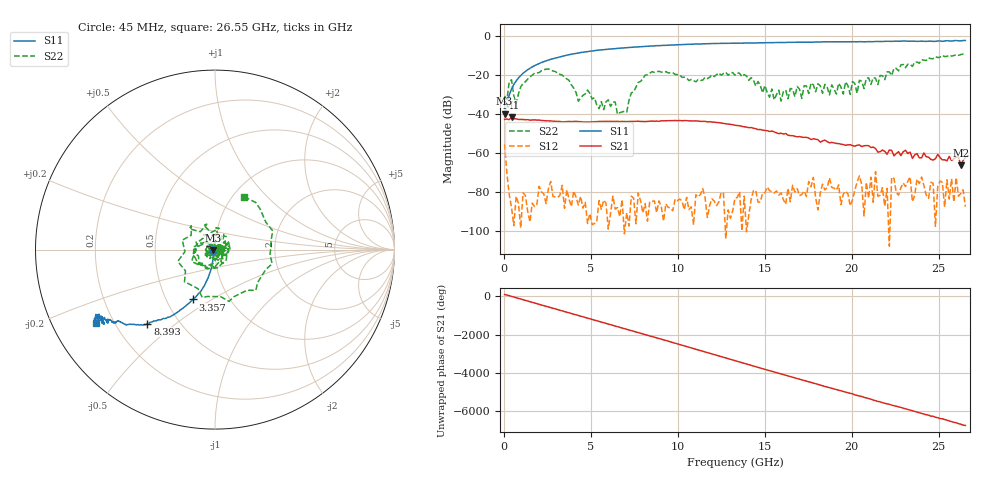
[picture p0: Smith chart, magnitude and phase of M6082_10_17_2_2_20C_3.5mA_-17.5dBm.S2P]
!  2-Port S-parameters saved by WinCal
! VAR MeasName=S-Parameters (CALIBRATED_DATA) read from VNA (C)
! VAR MeasDate=10/16/2015 3:49:27 PM
! VAR NAME=M6082_10_17_2_2_20C_3.5mA_-17.5dBm
! VAR FILENAME=M6082_10_17_2_2_20C_3.5mA_-17.5dBm.S2P
! VAR DATE=10/16/2015 3:49:27 PM
! VAR PHYS_PORTS=2,1
! VAR ObjTypeName=DATASET
! VAR IndexType=Frequency
# Hz S DB R 50
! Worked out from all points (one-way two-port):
!   201 points, 45 MHz to 26.55 GHz, reference 50 ohm
!   highest |S21| = -41.78 dB at 442.5 MHz (marker M1); lowest = -66.3 dB at 26.28 GHz (marker M2)
!   lowest |S11| = -39.8 dB at 45 MHz (marker M3), VSWR 1.02, Z = 49 - j0.247 ohm
!   |S11| at or under -10 dB: start of sweep to 3.51 GHz
!   |S22| runs from -40.1 to -9.2 dB; largest |S21 - S12| = 0.0085
!   S11 on the Smith chart (normalised r, x): 45 MHz: 0.98, -0.00; 3.357 GHz: 0.68, -0.41; 8.393 GHz: 0.33, -0.40; 26.55 GHz: 0.13, -0.28
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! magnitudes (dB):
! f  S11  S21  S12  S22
! 45 MHz  -39.8  -42.7  -55.5  -30.8
! 310 MHz  -30.2  -42.9  -81.4  -23.3
! 442.5 MHz  -27.2  -41.8  -88.0  -22.4
! 707.5 MHz  -23.0  -42.5  -82.3  -34.5
! 1.768 GHz  -15.1  -43.0  -87.6  -19.0
! 3.357 GHz  -10.3  -44.1  -76.7  -20.0
! 4.55 GHz  -8.2  -44.1  -88.4  -30.4
! 7.067 GHz  -5.9  -43.9  -90.8  -39.0
! 8.393 GHz  -5.1  -43.7  -85.0  -19.1
! 8.922 GHz  -4.8  -43.7  -84.7  -18.0
! 13.29 GHz  -3.6  -45.8  -83.2  -20.0
! 15.95 GHz  -3.2  -49.8  -80.5  -33.3
! 17.8 GHz  -3.1  -52.7  -72.6  -25.0
! 21.25 GHz  -2.8  -57.0  -85.4  -21.3
! 21.38 GHz  -2.7  -57.7  -69.6  -21.6
! 21.51 GHz  -2.7  -59.6  -82.3  -24.9
! 22.17 GHz  -2.6  -58.5  -107.9  -18.4
! 23.36 GHz  -2.6  -59.5  -72.3  -14.5
! 23.5 GHz  -2.5  -62.8  -85.1  -15.5
! 24.03 GHz  -2.6  -62.5  -72.4  -12.1
! 26.28 GHz  -2.4  -66.3  -80.9  -9.4
! 26.55 GHz  -2.2  -62.4  -87.6  -9.5
